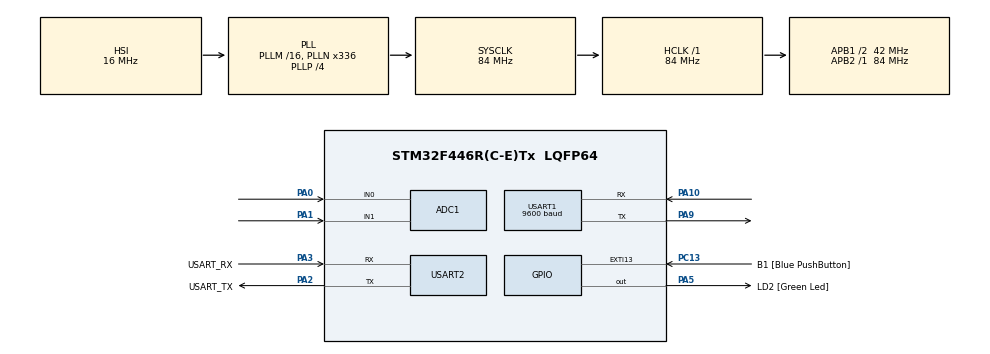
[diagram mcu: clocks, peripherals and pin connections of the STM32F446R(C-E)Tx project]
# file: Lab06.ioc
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ADC1.Channel-0\#ChannelRegularConversion=ADC_CHANNEL_0
ADC1.Channel-1\#ChannelRegularConversion=ADC_CHANNEL_1
ADC1.ClockPrescaler=ADC_CLOCK_SYNC_PCLK_DIV8
ADC1.ContinuousConvMode=ENABLE
ADC1.DMAContinuousRequests=ENABLE
ADC1.DataAlign=ADC_DATAALIGN_RIGHT
ADC1.EOCSelection=ADC_EOC_SEQ_CONV
ADC1.NbrOfConversion=2
ADC1.NbrOfConversionFlag=1
ADC1.Rank-0\#ChannelRegularConversion=1
ADC1.Rank-1\#ChannelRegularConversion=2
ADC1.SamplingTime-0\#ChannelRegularConversion=ADC_SAMPLETIME_480CYCLES
ADC1.SamplingTime-1\#ChannelRegularConversion=ADC_SAMPLETIME_480CYCLES
ADC1.ScanConvMode=ENABLE
ADC1.master=1
Dma.ADC1.0.Direction=DMA_PERIPH_TO_MEMORY
Dma.ADC1.0.FIFOMode=DMA_FIFOMODE_ENABLE
Dma.ADC1.0.FIFOThreshold=DMA_FIFO_THRESHOLD_FULL
Dma.ADC1.0.Instance=DMA2_Stream0
Dma.ADC1.0.MemBurst=DMA_MBURST_SINGLE
Dma.ADC1.0.MemDataAlignment=DMA_MDATAALIGN_HALFWORD
Dma.ADC1.0.MemInc=DMA_MINC_ENABLE
Dma.ADC1.0.Mode=DMA_CIRCULAR
Dma.ADC1.0.PeriphBurst=DMA_PBURST_SINGLE
Dma.ADC1.0.PeriphDataAlignment=DMA_PDATAALIGN_HALFWORD
Dma.ADC1.0.PeriphInc=DMA_PINC_DISABLE
Dma.ADC1.0.Priority=DMA_PRIORITY_LOW
Dma.Request0=ADC1
Mcu.Family=STM32F4
Mcu.Name=STM32F446R(C-E)Tx
Mcu.Package=LQFP64
NVIC.DMA2_Stream0_IRQn=true\:0\:0\:false\:false\:true\:false\:true\:true
NVIC.PriorityGroup=NVIC_PRIORITYGROUP_0
NVIC.USART1_IRQn=true\:0\:0\:false\:false\:true\:true\:true\:true
PA0-WKUP.Signal=ADCx_IN0
PA1.Signal=ADCx_IN1
PA10.Mode=Asynchronous
PA10.Signal=USART1_RX
PA13.GPIO_Label=TMS
PA13.Mode=Serial_Wire
PA13.Signal=SYS_JTMS-SWDIO
PA14.GPIO_Label=TCK
PA14.Mode=Serial_Wire
PA14.Signal=SYS_JTCK-SWCLK
PA2.GPIO_Label=USART_TX
PA2.Mode=Asynchronous
PA2.Signal=USART2_TX
PA3.GPIO_Label=USART_RX
PA3.Mode=Asynchronous
PA3.Signal=USART2_RX
PA5.GPIO_Label=LD2 [Green Led]
PA5.Signal=GPIO_Output
PA9.Mode=Asynchronous
PA9.Signal=USART1_TX
PB3.GPIO_Label=SWO
PB3.Signal=SYS_JTDO-SWO
PC13.GPIO_Label=B1 [Blue PushButton]
PC13.GPIO_ModeDefaultEXTI=GPIO_MODE_IT_FALLING
PC13.Signal=GPXTI13
PC14-OSC32_IN.Mode=LSE-External-Oscillator
PC14-OSC32_IN.Signal=RCC_OSC32_IN
PC15-OSC32_OUT.Mode=LSE-External-Oscillator
PC15-OSC32_OUT.Signal=RCC_OSC32_OUT
PH0-OSC_IN.Mode=HSE-External-Oscillator
PH0-OSC_IN.Signal=RCC_OSC_IN
PH1-OSC_OUT.Mode=HSE-External-Oscillator
PH1-OSC_OUT.Signal=RCC_OSC_OUT
ProjectManager.HeapSize=0x200
ProjectManager.StackSize=0x400
ProjectManager.TargetToolchain=STM32CubeIDE
RCC.48MHZClocksFreq_Value=84000000
RCC.AHBFreq_Value=84000000
RCC.APB1CLKDivider=RCC_HCLK_DIV2
RCC.APB1Freq_Value=42000000
RCC.APB1TimFreq_Value=84000000
RCC.APB2Freq_Value=84000000
RCC.APB2TimFreq_Value=84000000
RCC.CortexFreq_Value=84000000
RCC.FLatency-AdvancedSettings=FLASH_LATENCY_2
RCC.HCLKFreq_Value=84000000
RCC.HSE_VALUE=8000000
RCC.HSI_VALUE=16000000
RCC.PLLN=336
RCC.PLLP=RCC_PLLP_DIV4
RCC.SYSCLKFreq_VALUE=84000000
RCC.SYSCLKSource=RCC_SYSCLKSOURCE_PLLCLK
RCC.USBFreq_Value=168000000
RCC.VCOOutputFreq_Value=336000000
SH.ADCx_IN0.0=ADC1_IN0,IN0
SH.ADCx_IN1.0=ADC1_IN1,IN1
USART1.BaudRate=9600
USART1.VirtualMode=VM_ASYNC
USART2.VirtualMode=VM_ASYNC
board=NUCLEO-F446RE

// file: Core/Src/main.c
/* USER CODE BEGIN Header */
/**
  ******************************************************************************
  * @file           : main.c
  * @brief          : Main program body
  ******************************************************************************
  * @attention
  *
  * Copyright (c) 2026 STMicroelectronics.
  * All rights reserved.
  *
  * This software is licensed under terms that can be found in the LICENSE file
  * in the root directory of this software component.
  * If no LICENSE file comes with this software, it is provided AS-IS.
  *
  *	Angie Recinos 23294
  *	Lab06
  ******************************************************************************
  */
/* USER CODE END Header */
#include "main.h"

/* USER CODE BEGIN Includes */
#include <stdio.h>
#include <string.h>
/* USER CODE END Includes */

ADC_HandleTypeDef hadc1;
DMA_HandleTypeDef hdma_adc1;

UART_HandleTypeDef huart1;
UART_HandleTypeDef huart2;

/* USER CODE BEGIN PV */
// Variables para el ADC
uint16_t ADCValor[2];
uint8_t estadoADC = 0;
uint16_t contador = 0;
char msg_arriba[] = "Control_1: Arriba_J\r\n";
char msg_abajo[]  = "Control_1: Abajo_J\r\n";
char msg_izq[]    = "Control_1: Izquierda_J\r\n";
char msg_der[]    = "Control_1: Derecha_J\r\n";

// Variables para UART
uint8_t rx_char;
uint8_t accion;
uint8_t new_action = 0;
uint8_t temp[2];
uint8_t indx = 0;
char current_state_X = 0;
char current_state_Y = 0;

/* USER CODE END PV */

void SystemClock_Config(void);
static void MX_GPIO_Init(void);
static void MX_DMA_Init(void);
static void MX_ADC1_Init(void);
static void MX_USART2_UART_Init(void);
static void MX_USART1_UART_Init(void);

int main(void)
{

  /* MCU Configuration--------------------------------------------------------*/

  /* Reset of all peripherals, Initializes the Flash interface and the Systick. */
  HAL_Init();

  /* Configure the system clock */
  SystemClock_Config();

  /* Initialize all configured peripherals */
  MX_GPIO_Init();
  MX_DMA_Init();
  MX_ADC1_Init();
  MX_USART2_UART_Init();
  MX_USART1_UART_Init();
  /* USER CODE BEGIN 2 */
  HAL_ADC_Start_DMA(&hadc1, (uint32_t*)ADCValor, 2);
  HAL_UART_Receive_IT(&huart1, &rx_char, 1);
  /* USER CODE END 2 */

  /* Infinite loop */
  while (1)
  {

    /* USER CODE BEGIN 3 */
	  contador++;
	  //HAL_Delay(500);
	  if(estadoADC){

		  estadoADC = 0;
		  char new_state_X = '0';
		  char new_state_Y = '0';

		  // -------- EJE Y --------
		  if(ADCValor[0] > 3000)
		  {
			  new_state_Y = 'U';
			  //HAL_UART_Transmit(&huart2, (uint8_t*)msg_arriba, strlen(msg_arriba), 1000);
		  }
		  else if(ADCValor[0] < 1000)
		  {
			  new_state_Y = 'D';
			  //HAL_UART_Transmit(&huart2, (uint8_t*)msg_abajo, strlen(msg_abajo), 1000);
		  }

		  // -------- EJE X --------
		  if(ADCValor[1] > 3000)
		  {
			  new_state_X = 'R';
			  //HAL_UART_Transmit(&huart2, (uint8_t*)msg_der, strlen(msg_der), 1000);
		  }
		  else if(ADCValor[1] < 1000)
		  {
			  new_state_X = 'L';
			  //HAL_UART_Transmit(&huart2, (uint8_t*)msg_izq, strlen(msg_izq), 1000);
		  }

		  // Comparación para ver si hubo cambio y no saturar terminal (JoyStick)
		  // -------- CAMBIO EN Y --------
		  if(new_state_Y != current_state_Y)
		  {
		      current_state_Y = new_state_Y;

		          if(current_state_Y == 'U')
		              HAL_UART_Transmit(&huart2, (uint8_t*)msg_arriba, strlen(msg_arriba), 100);

		          else if(current_state_Y == 'D')
		              HAL_UART_Transmit(&huart2, (uint8_t*)msg_abajo, strlen(msg_abajo), 100);

		  }

		  // -------- CAMBIO EN X --------
		  if(new_state_X != current_state_X)
		  {
		      current_state_X = new_state_X;

		          if(current_state_X == 'R')
		              HAL_UART_Transmit(&huart2, (uint8_t*)msg_der, strlen(msg_der), 100);

		          else if(current_state_X == 'L')
		              HAL_UART_Transmit(&huart2, (uint8_t*)msg_izq, strlen(msg_izq), 100);
		  }

	  }
	HAL_Delay(150);
  }

  /* USER CODE END 3 */
}

void SystemClock_Config(void)
{
  RCC_OscInitTypeDef RCC_OscInitStruct = {0};
  RCC_ClkInitTypeDef RCC_ClkInitStruct = {0};

  /** Configure the main internal regulator output voltage
  */
  __HAL_RCC_PWR_CLK_ENABLE();
  __HAL_PWR_VOLTAGESCALING_CONFIG(PWR_REGULATOR_VOLTAGE_SCALE3);

  /** Initializes the RCC Oscillators according to the specified parameters
  * in the RCC_OscInitTypeDef structure.
  */
  RCC_OscInitStruct.OscillatorType = RCC_OSCILLATORTYPE_HSI;
  RCC_OscInitStruct.HSIState = RCC_HSI_ON;
  RCC_OscInitStruct.HSICalibrationValue = RCC_HSICALIBRATION_DEFAULT;
  RCC_OscInitStruct.PLL.PLLState = RCC_PLL_ON;
  RCC_OscInitStruct.PLL.PLLSource = RCC_PLLSOURCE_HSI;
  RCC_OscInitStruct.PLL.PLLM = 16;
  RCC_OscInitStruct.PLL.PLLN = 336;
  RCC_OscInitStruct.PLL.PLLP = RCC_PLLP_DIV4;
  RCC_OscInitStruct.PLL.PLLQ = 2;
  RCC_OscInitStruct.PLL.PLLR = 2;
  if (HAL_RCC_OscConfig(&RCC_OscInitStruct) != HAL_OK)
  {
    Error_Handler();
  }

  /** Initializes the CPU, AHB and APB buses clocks
  */
  RCC_ClkInitStruct.ClockType = RCC_CLOCKTYPE_HCLK|RCC_CLOCKTYPE_SYSCLK
                              |RCC_CLOCKTYPE_PCLK1|RCC_CLOCKTYPE_PCLK2;
  RCC_ClkInitStruct.SYSCLKSource = RCC_SYSCLKSOURCE_PLLCLK;
  RCC_ClkInitStruct.AHBCLKDivider = RCC_SYSCLK_DIV1;
  RCC_ClkInitStruct.APB1CLKDivider = RCC_HCLK_DIV2;
  RCC_ClkInitStruct.APB2CLKDivider = RCC_HCLK_DIV1;

  if (HAL_RCC_ClockConfig(&RCC_ClkInitStruct, FLASH_LATENCY_2) != HAL_OK)
  {
    Error_Handler();
  }
}

static void MX_ADC1_Init(void)
{

  ADC_ChannelConfTypeDef sConfig = {0};

  /** Configure the global features of the ADC (Clock, Resolution, Data Alignment and number of conversion)
  */
  hadc1.Instance = ADC1;
  hadc1.Init.ClockPrescaler = ADC_CLOCK_SYNC_PCLK_DIV8;
  hadc1.Init.Resolution = ADC_RESOLUTION_12B;
  hadc1.Init.ScanConvMode = ENABLE;
  hadc1.Init.ContinuousConvMode = ENABLE;
  hadc1.Init.DiscontinuousConvMode = DISABLE;
  hadc1.Init.ExternalTrigConvEdge = ADC_EXTERNALTRIGCONVEDGE_NONE;
  hadc1.Init.ExternalTrigConv = ADC_SOFTWARE_START;
  hadc1.Init.DataAlign = ADC_DATAALIGN_RIGHT;
  hadc1.Init.NbrOfConversion = 2;
  hadc1.Init.DMAContinuousRequests = ENABLE;
  hadc1.Init.EOCSelection = ADC_EOC_SEQ_CONV;
  if (HAL_ADC_Init(&hadc1) != HAL_OK)
  {
    Error_Handler();
  }

  /** Configure for the selected ADC regular channel its corresponding rank in the sequencer and its sample time.
  */
  sConfig.Channel = ADC_CHANNEL_0;
  sConfig.Rank = 1;
  sConfig.SamplingTime = ADC_SAMPLETIME_480CYCLES;
  if (HAL_ADC_ConfigChannel(&hadc1, &sConfig) != HAL_OK)
  {
    Error_Handler();
  }

  /** Configure for the selected ADC regular channel its corresponding rank in the sequencer and its sample time.
  */
  sConfig.Channel = ADC_CHANNEL_1;
  sConfig.Rank = 2;
  if (HAL_ADC_ConfigChannel(&hadc1, &sConfig) != HAL_OK)
  {
    Error_Handler();
  }

}

static void MX_USART1_UART_Init(void)
{

  huart1.Instance = USART1;
  huart1.Init.BaudRate = 9600;
  huart1.Init.WordLength = UART_WORDLENGTH_8B;
  huart1.Init.StopBits = UART_STOPBITS_1;
  huart1.Init.Parity = UART_PARITY_NONE;
  huart1.Init.Mode = UART_MODE_TX_RX;
  huart1.Init.HwFlowCtl = UART_HWCONTROL_NONE;
  huart1.Init.OverSampling = UART_OVERSAMPLING_16;
  if (HAL_UART_Init(&huart1) != HAL_OK)
  {
    Error_Handler();
  }

}

static void MX_USART2_UART_Init(void)
{

  huart2.Instance = USART2;
  huart2.Init.BaudRate = 115200;
  huart2.Init.WordLength = UART_WORDLENGTH_8B;
  huart2.Init.StopBits = UART_STOPBITS_1;
  huart2.Init.Parity = UART_PARITY_NONE;
  huart2.Init.Mode = UART_MODE_TX_RX;
  huart2.Init.HwFlowCtl = UART_HWCONTROL_NONE;
  huart2.Init.OverSampling = UART_OVERSAMPLING_16;
  if (HAL_UART_Init(&huart2) != HAL_OK)
  {
    Error_Handler();
  }

}

static void MX_DMA_Init(void)
{

  /* DMA controller clock enable */
  __HAL_RCC_DMA2_CLK_ENABLE();

  /* DMA interrupt init */
  /* DMA2_Stream0_IRQn interrupt configuration */
  HAL_NVIC_SetPriority(DMA2_Stream0_IRQn, 0, 0);
  HAL_NVIC_EnableIRQ(DMA2_Stream0_IRQn);

}

static void MX_GPIO_Init(void)
{
  GPIO_InitTypeDef GPIO_InitStruct = {0};

  /* GPIO Ports Clock Enable */
  __HAL_RCC_GPIOC_CLK_ENABLE();
  __HAL_RCC_GPIOH_CLK_ENABLE();
  __HAL_RCC_GPIOA_CLK_ENABLE();
  __HAL_RCC_GPIOB_CLK_ENABLE();

  /*Configure GPIO pin Output Level */
  HAL_GPIO_WritePin(LD2_GPIO_Port, LD2_Pin, GPIO_PIN_RESET);

  /*Configure GPIO pin : B1_Pin */
  GPIO_InitStruct.Pin = B1_Pin;
  GPIO_InitStruct.Mode = GPIO_MODE_IT_FALLING;
  GPIO_InitStruct.Pull = GPIO_NOPULL;
  HAL_GPIO_Init(B1_GPIO_Port, &GPIO_InitStruct);

  /*Configure GPIO pin : LD2_Pin */
  GPIO_InitStruct.Pin = LD2_Pin;
  GPIO_InitStruct.Mode = GPIO_MODE_OUTPUT_PP;
  GPIO_InitStruct.Pull = GPIO_NOPULL;
  GPIO_InitStruct.Speed = GPIO_SPEED_FREQ_LOW;
  HAL_GPIO_Init(LD2_GPIO_Port, &GPIO_InitStruct);

}

/* USER CODE BEGIN 4 */
void HAL_ADC_ConvCpltCallback(ADC_HandleTypeDef *hadc){
	estadoADC = 1;
}
void HAL_UART_RxCpltCallback(UART_HandleTypeDef *huart){

	if(huart->Instance == USART1)
	    {
	        // Reenviar byte a la compu
			//HAL_UART_Transmit(&huart2, (uint8_t*)"Control_2:", 10, 100);
			HAL_UART_Transmit(&huart2, &rx_char, 1, 100);

			// Se guarda la accion de control 2 (Nano)
			accion = rx_char;
			// Bandera de nueva accion por control 2
			new_action = 1;

	        // Reiniciar recepción para interrupción
	        HAL_UART_Receive_IT(&huart1, &rx_char, 1);
	    }

}
/* USER CODE END 4 */

void Error_Handler(void)
{
  __disable_irq();
  while (1)
  {
  }
}
